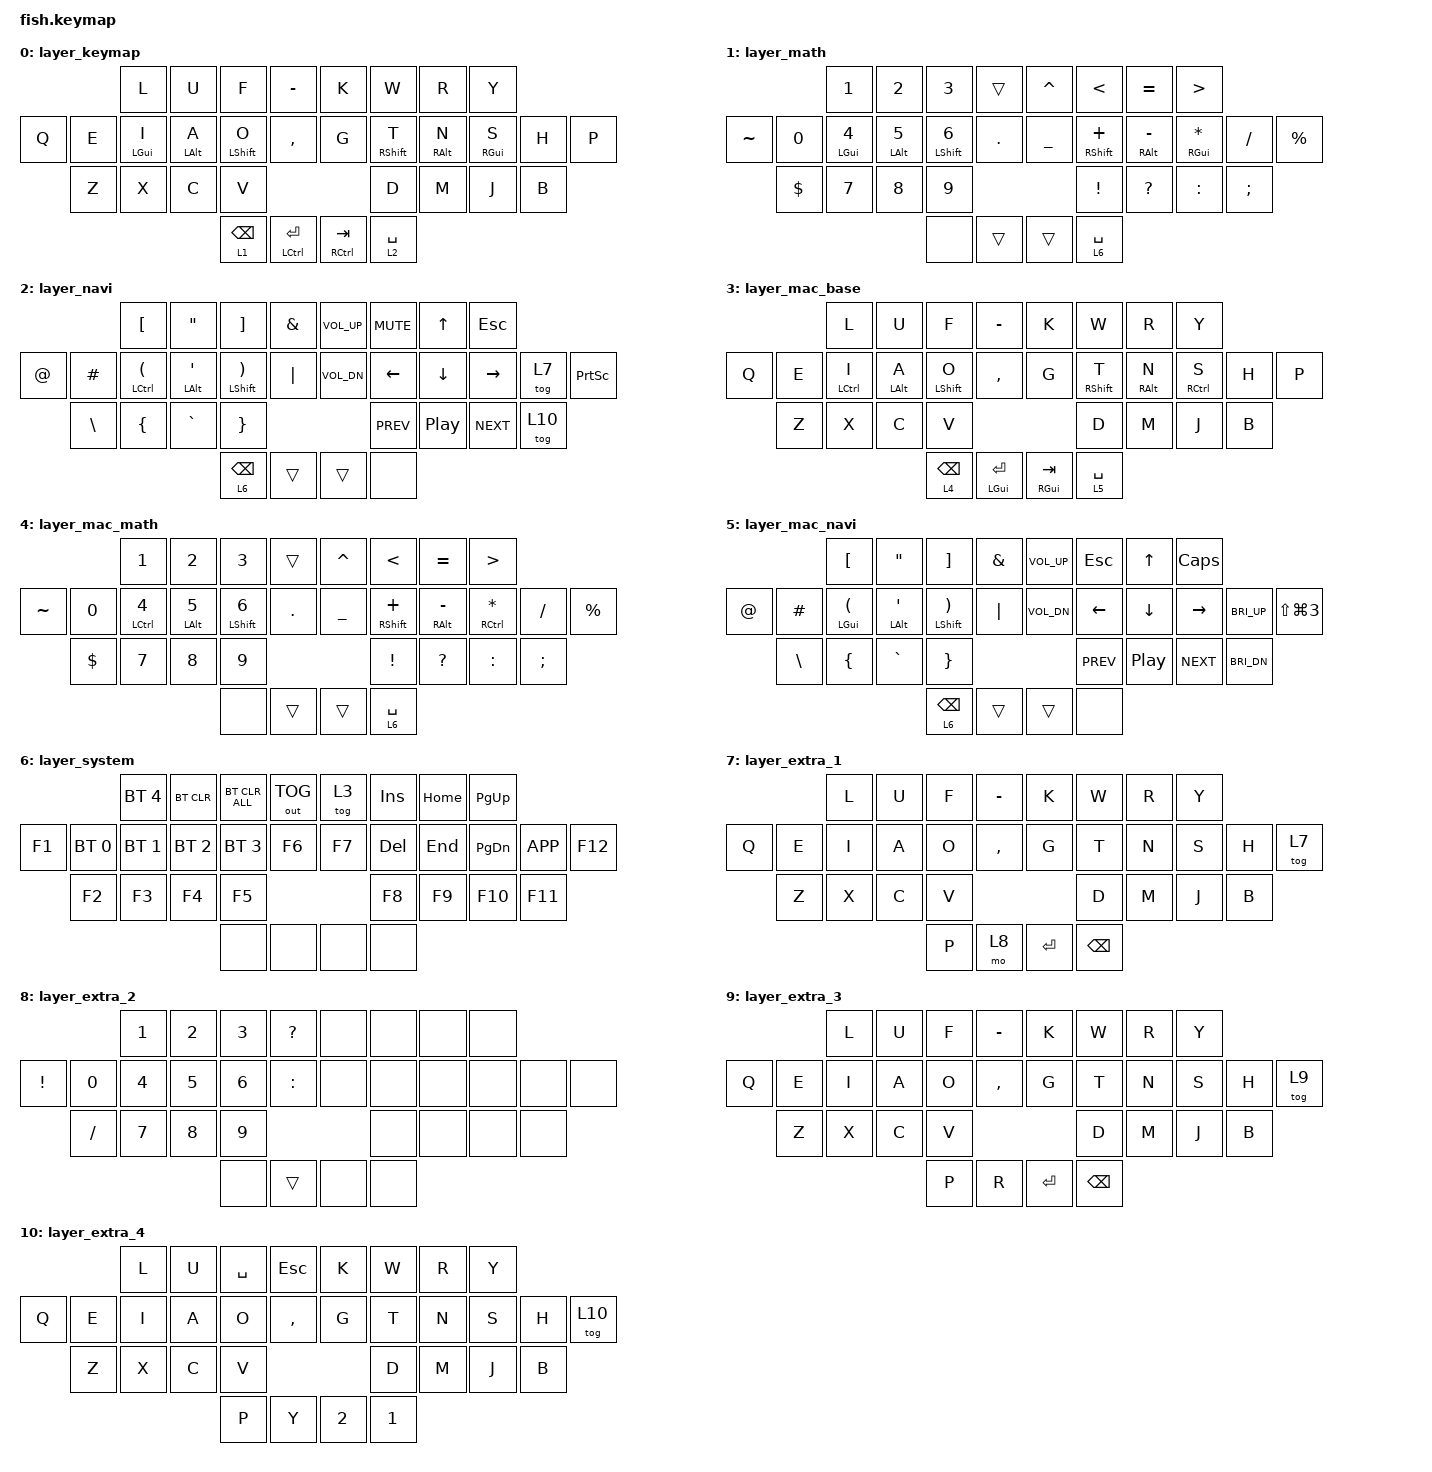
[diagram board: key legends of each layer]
// キーマップを更新する方法は https://o24.works/fish/guide を参照
// 視覚的に編集するには https://o24.works/fish/editor を参照


// 定義を呼んでくる
#include <behaviors.dtsi>
#include <dt-bindings/zmk/keys.h>
#include <dt-bindings/zmk/mouse.h>
#include <dt-bindings/zmk/bt.h>
#include <dt-bindings/zmk/outputs.h>
#include <dt-bindings/zmk/pointing.h>


// 特殊入力の挙動を調整できる

&mt {
    flavor = "tap-preferred";
    tapping-term-ms = <225>;
    quick-tap-ms = <200>;
    require-prior-idle-ms = <150>;
};

&lt {
    flavor = "balanced";
    tapping-term-ms = <175>;
    quick-tap-ms = <200>;
};

&sk {
};

&sl {
};

&caps_word {
};

&key_repeat {
};


/ {
    // 独自の入力を定義できる（上級者向け）

    behaviors {
    };

    macros {
    };

    conditional_layers {
    };


    // 複数キーの同時押しに特別の入力を設定できる
    // キー番号早見表：
    //       0  1  2  3     4  5  6  7
    // 8  9 10 11 12 13    14 15 16 17 18 19
    //   20 21 22 23          24 25 26 27
    //            28 29    30 31

    combos {
        compatible = "zmk,combos";
        timeout-ms = <100>;
        require-prior-idle-ms = <150>;

        combo_lang2 {
            key-positions = <1 2>;
            bindings = <&kp LANG2>;
        };

        combo_lang1 {
            key-positions = <5 6>;
            bindings = <&kp LANG1>;
        };

        combo_reset_L {
            key-positions = <3 8 13>;
            bindings = <&bootloader>;
        };

        combo_reset_R {
            key-positions = <4 14 19>;
            bindings = <&bootloader>;
        };

        combo_studio_unlock {
            key-positions = <20 21 22 23>;
            bindings = <&studio_unlock>;
        };
    };
    

    // キーに入力を割り当てる
    // 型（&...）は https://zmk.dev/docs/behaviors/... を参照
    // キーコードは https://zmk.dev/docs/codes/... を参照

    keymap {
        compatible = "zmk,keymap";

        layer_keymap {
            bindings = <
                        &kp L       &kp U       &kp F       &kp MINUS           &kp K       &kp W       &kp R       &kp Y       
&kp Q       &kp E       &mt LGUI I  &mt LALT A  &mt LSHFT O &kp COMMA           &kp G       &mt RSHFT T &mt RALT N  &mt RGUI S  &kp H       &kp P       
            &kp Z       &kp X       &kp C       &kp V                                       &kp D       &kp M       &kp J       &kp B       
                                                &lt 1 BSPC  &mt LCTRL RET       &mt RCTRL TAB &lt 2 SPACE 
            >;
        };

        layer_math {
            bindings = <
                        &kp N1      &kp N2      &kp N3      &trans              &kp CARET   &kp LT      &kp EQUAL   &kp GT      
&kp TILDE   &kp N0      &mt LGUI N4 &mt LALT N5 &mt LSHFT N6 &kp DOT            &kp UNDER   &mt RSHFT PLUS &mt RALT MINUS &mt RGUI STAR &kp FSLH &kp PRCNT 
            &kp DLLR    &kp N7      &kp N8      &kp N9                                      &kp EXCL    &kp QMARK   &kp COLON   &kp SEMI    
                                                &none       &trans              &trans      &lt 6 SPACE 
            >;
        };

        layer_navi {
            bindings = <
                        &kp LBKT    &kp DQT     &kp RBKT    &kp AMPS            &kp C_VOL_UP &kp C_MUTE &kp UP      &kp ESC     
&kp AT      &kp HASH    &mt LCTRL LPAR &mt LALT SQT &mt LSHFT RPAR &kp PIPE     &kp C_VOL_DN &kp LEFT   &kp DOWN    &kp RIGHT   &tog 7      &kp PSCRN   
            &kp BSLH    &kp LBRC    &kp GRAVE   &kp RBRC                                    &kp C_PREV  &kp C_PP    &kp C_NEXT  &tog 10     
                                                &lt 6 BSPC  &trans              &trans      &none       
            >;
        };

        layer_mac_base {
            bindings = <
                        &kp L       &kp U       &kp F       &kp MINUS           &kp K       &kp W       &kp R       &kp Y       
&kp Q       &kp E       &mt LCTRL I &mt LALT A  &mt LSHFT O &kp COMMA           &kp G       &mt RSHFT T &mt RALT N  &mt RCTRL S &kp H       &kp P       
            &kp Z       &kp X       &kp C       &kp V                                       &kp D       &kp M       &kp J       &kp B       
                                                &lt 4 BSPC  &mt LGUI RET        &mt RGUI TAB &lt 5 SPACE 
            >;
        };

        layer_mac_math {
            bindings = <
                        &kp N1      &kp N2      &kp N3      &trans              &kp CARET   &kp LT      &kp EQUAL   &kp GT      
&kp TILDE   &kp N0      &mt LCTRL N4 &mt LALT N5 &mt LSHFT N6 &kp DOT           &kp UNDER   &mt RSHFT PLUS &mt RALT MINUS &mt RCTRL STAR &kp FSLH &kp PRCNT 
            &kp DLLR    &kp N7      &kp N8      &kp N9                                      &kp EXCL    &kp QMARK   &kp COLON   &kp SEMI    
                                                &none       &trans              &trans      &lt 6 SPACE 
            >;
        };

        layer_mac_navi {
            bindings = <
                        &kp LBKT    &kp DQT     &kp RBKT    &kp AMPS            &kp C_VOL_UP &kp ESC    &kp UP      &kp CAPS    
&kp AT      &kp HASH    &mt LGUI LPAR &mt LALT SQT &mt LSHFT RPAR &kp PIPE      &kp C_VOL_DN &kp LEFT   &kp DOWN    &kp RIGHT   &kp C_BRI_UP &kp LS(LG(N3)) 
            &kp BSLH    &kp LBRC    &kp GRAVE   &kp RBRC                                    &kp C_PREV  &kp C_PP    &kp C_NEXT  &kp C_BRI_DN 
                                                &lt 6 BSPC  &trans              &trans      &none       
            >;
        };

        layer_system {
            bindings = <
                        &bt BT_SEL 4 &bt BT_CLR &bt BT_CLR_ALL &out OUT_TOG     &tog 3      &kp INS     &kp HOME    &kp PG_UP   
&kp F1      &bt BT_SEL 0 &bt BT_SEL 1 &bt BT_SEL 2 &bt BT_SEL 3 &kp F6          &kp F7      &kp DEL     &kp END     &kp PG_DN   &kp K_APP   &kp F12     
            &kp F2      &kp F3      &kp F4      &kp F5                                      &kp F8      &kp F9      &kp F10     &kp F11     
                                                &none       &none               &none       &none       
            >;
        };

        layer_extra_1 {
            bindings = <
                        &kp L       &kp U       &kp F       &kp MINUS           &kp K       &kp W       &kp R       &kp Y       
&kp Q       &kp E       &kp I       &kp A       &kp O       &kp COMMA           &kp G       &kp T       &kp N       &kp S       &kp H       &tog 7      
            &kp Z       &kp X       &kp C       &kp V                                       &kp D       &kp M       &kp J       &kp B       
                                                &kp P       &mo 8               &kp RET     &kp BSPC    
            >;
        };

        layer_extra_2 {
            bindings = <
                        &kp N1      &kp N2      &kp N3      &kp QMARK           &none       &none       &none       &none       
&kp EXCL    &kp N0      &kp N4      &kp N5      &kp N6      &kp COLON           &none       &none       &none       &none       &none       &none       
            &kp FSLH    &kp N7      &kp N8      &kp N9                                      &none       &none       &none       &none       
                                                &none       &trans              &none       &none       
            >;
        };

        layer_extra_3 {
            bindings = <
                        &kp L       &kp U       &kp F       &kp MINUS           &kp K       &kp W       &kp R       &kp Y       
&kp Q       &kp E       &kp I       &kp A       &kp O       &kp COMMA           &kp G       &kp T       &kp N       &kp S       &kp H       &tog 9      
            &kp Z       &kp X       &kp C       &kp V                                       &kp D       &kp M       &kp J       &kp B       
                                                &kp P       &kp R               &kp RET     &kp BSPC    
            >;
        };

        layer_extra_4 {
            bindings = <
                        &kp L       &kp U       &kp SPACE   &kp ESC             &kp K       &kp W       &kp R       &kp Y       
&kp Q       &kp E       &kp I       &kp A       &kp O       &kp COMMA           &kp G       &kp T       &kp N       &kp S       &kp H       &tog 10     
            &kp Z       &kp X       &kp C       &kp V                                       &kp D       &kp M       &kp J       &kp B       
                                                &kp P       &kp Y               &kp N2      &kp N1      
            >;
        };
    };
};
